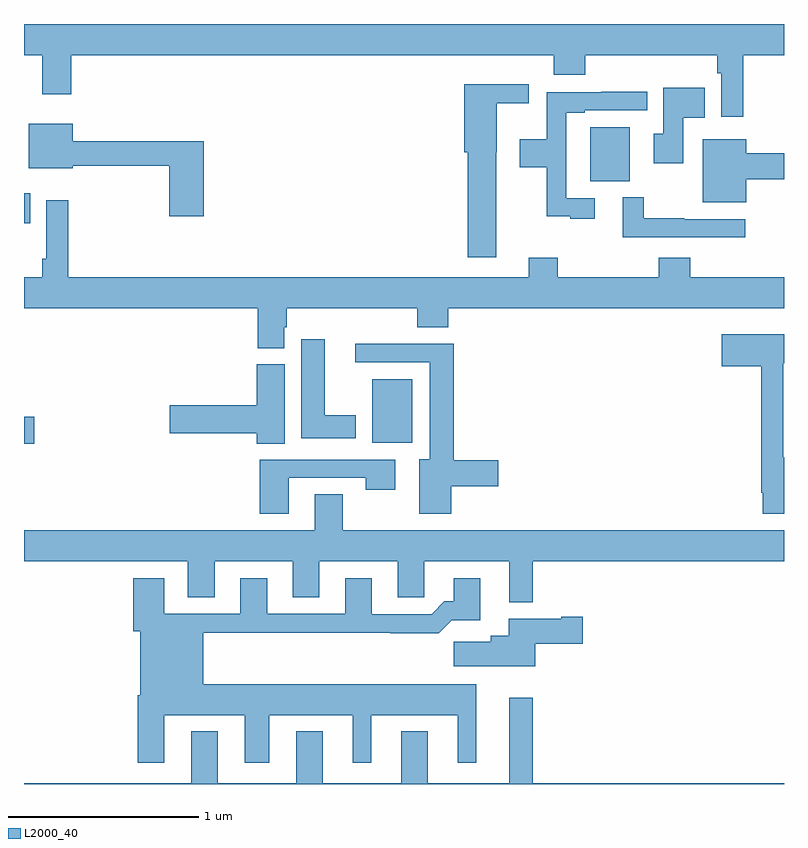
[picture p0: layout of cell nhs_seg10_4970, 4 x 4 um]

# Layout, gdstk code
import gdstk
lib = gdstk.Library(unit=1e-6, precision=1e-09)
def R(c, l, rs):  # rectangles x0, y0, x1, y1
    for r in rs: c.add(gdstk.rectangle(r[:2], r[2:], *l))
def P(c, l, *ps):  # polygons
    for p in ps: c.add(gdstk.Polygon(p, *l))
L2000_40 = (2000, 40)

nhs_seg10_4970 = lib.new_cell('nhs_seg10_4970')
R(nhs_seg10_4970, L2000_40, [(399,1278.292,399.055,1278.434), (400.832,1278.296,401.044,1278.631), (399,1279.451,399.032,1279.609), (401.981,1279.673,402.187,1279.957)])
P(nhs_seg10_4970, L2000_40, [(402.785,1280.336),(403,1280.336),(403,1280.5),(399,1280.5),(399,1280.336),(399.095,1280.336),(399.095,1280.13),(399.248,1280.13),(399.248,1280.336),(401.789,1280.336),(401.789,1280.234),(401.954,1280.234),(401.954,1280.336),(402.649,1280.336),(402.649,1280.24),(402.669,1280.24),(402.669,1280.013),(402.785,1280.013)],
  [(401.485,1279.824),(401.488,1279.824),(401.488,1280.084),(401.656,1280.084),(401.656,1280.182),(401.318,1280.182),(401.318,1279.824),(401.336,1279.824),(401.336,1279.272),(401.485,1279.272)],
  [(402.469,1280.006),(402.584,1280.006),(402.584,1280.164),(402.365,1280.164),(402.365,1279.923),(402.315,1279.923),(402.315,1279.767),(402.469,1279.767)],
  [(402.004,1279.584),(401.853,1279.584),(401.853,1280.034),(401.95,1280.034),(401.95,1280.046),(402.28,1280.046),(402.28,1280.144),(402.037,1280.144),(402.037,1280.142),(401.752,1280.142),(401.752,1279.894),(401.61,1279.894),(401.61,1279.747),(401.752,1279.747),(401.752,1279.487),(401.876,1279.487),(401.876,1279.476),(402.004,1279.476)],
  [(399.947,1279.882),(399.256,1279.882),(399.256,1279.975),(399.026,1279.975),(399.026,1279.742),(399.256,1279.742),(399.256,1279.753),(399.764,1279.753),(399.764,1279.488),(399.947,1279.488)],
  [(402.802,1279.684),(403,1279.684),(403,1279.82),(402.802,1279.82),(402.802,1279.894),(402.572,1279.894),(402.572,1279.562),(402.802,1279.562)],
  [(402.796,1279.473),(402.476,1279.473),(402.476,1279.478),(402.262,1279.478),(402.262,1279.588),(402.152,1279.588),(402.152,1279.377),(402.796,1279.377)],
  [(400.369,1278.903),(400.382,1278.903),(400.382,1279.004),(401.069,1279.004),(401.069,1278.905),(401.234,1278.905),(401.234,1279.004),(403,1279.004),(403,1279.168),(402.506,1279.168),(402.506,1279.27),(402.341,1279.27),(402.341,1279.168),(401.81,1279.168),(401.81,1279.27),(401.657,1279.27),(401.657,1279.168),(399.233,1279.168),(399.233,1279.573),(399.117,1279.573),(399.117,1279.264),(399.097,1279.264),(399.097,1279.168),(399,1279.168),(399,1279.004),(400.229,1279.004),(400.229,1278.793),(400.369,1278.793)],
  [(403,1278.219),(402.996,1278.219),(402.996,1278.714),(403,1278.714),(403,1278.868),(402.672,1278.868),(402.672,1278.698),(402.88,1278.698),(402.88,1278.034),(402.887,1278.034),(402.887,1277.922),(403,1277.922)],
  [(400.747,1278.442),(400.582,1278.442),(400.582,1278.841),(400.46,1278.841),(400.46,1278.32),(400.747,1278.32)],
  [(401.248,1278.068),(401.497,1278.068),(401.497,1278.203),(401.261,1278.203),(401.261,1278.818),(400.743,1278.818),(400.743,1278.72),(401.135,1278.72),(401.135,1278.208),(401.081,1278.208),(401.081,1277.922),(401.248,1277.922)],
  [(400.372,1278.708),(400.226,1278.708),(400.226,1278.494),(399.768,1278.494),(399.768,1278.347),(400.226,1278.347),(400.226,1278.292),(400.372,1278.292)],
  [(400.393,1278.111),(400.798,1278.111),(400.798,1278.048),(400.954,1278.048),(400.954,1278.207),(400.241,1278.207),(400.241,1277.922),(400.393,1277.922)],
  [(401.677,1277.672),(403,1277.672),(403,1277.836),(400.677,1277.836),(400.677,1278.026),(400.529,1278.026),(400.529,1277.836),(399,1277.836),(399,1277.672),(399.863,1277.672),(399.863,1277.482),(400.003,1277.482),(400.003,1277.672),(400.415,1277.672),(400.415,1277.482),(400.555,1277.482),(400.555,1277.672),(400.967,1277.672),(400.967,1277.482),(401.106,1277.482),(401.106,1277.672),(401.555,1277.672),(401.555,1277.456),(401.677,1277.456)],
  [(399.739,1276.862),(400.163,1276.862),(400.163,1276.611),(400.291,1276.611),(400.291,1276.862),(400.73,1276.862),(400.73,1276.611),(400.828,1276.611),(400.828,1276.862),(401.282,1276.862),(401.282,1276.611),(401.38,1276.611),(401.38,1277.026),(399.943,1277.026),(399.943,1277.296),(400.927,1277.296),(400.927,1277.294),(401.183,1277.294),(401.252,1277.363),(401.401,1277.363),(401.401,1277.584),(401.261,1277.584),(401.261,1277.461),(401.212,1277.461),(401.145,1277.394),(400.831,1277.394),(400.831,1277.584),(400.691,1277.584),(400.691,1277.397),(400.279,1277.397),(400.279,1277.584),(400.139,1277.584),(400.139,1277.397),(399.739,1277.397),(399.739,1277.584),(399.575,1277.584),(399.575,1277.304),(399.611,1277.304),(399.611,1276.966),(399.599,1276.966),(399.599,1276.611),(399.739,1276.611)],
  [(401.692,1277.237),(401.941,1277.237),(401.941,1277.379),(401.828,1277.379),(401.828,1277.371),(401.552,1277.371),(401.552,1277.281),(401.456,1277.281),(401.456,1277.249),(401.262,1277.249),(401.262,1277.12),(401.692,1277.12)],
  [(403,1276.504),(401.677,1276.504),(401.677,1276.954),(401.555,1276.954),(401.555,1276.504),(401.125,1276.504),(401.125,1276.777),(400.985,1276.777),(400.985,1276.504),(400.573,1276.504),(400.573,1276.777),(400.433,1276.777),(400.433,1276.504),(400.021,1276.504),(400.021,1276.777),(399.881,1276.777),(399.881,1276.504),(399,1276.504),(399,1276.5),(403,1276.5)])

lib.write_gds('nhs_seg10_4970.gds')
